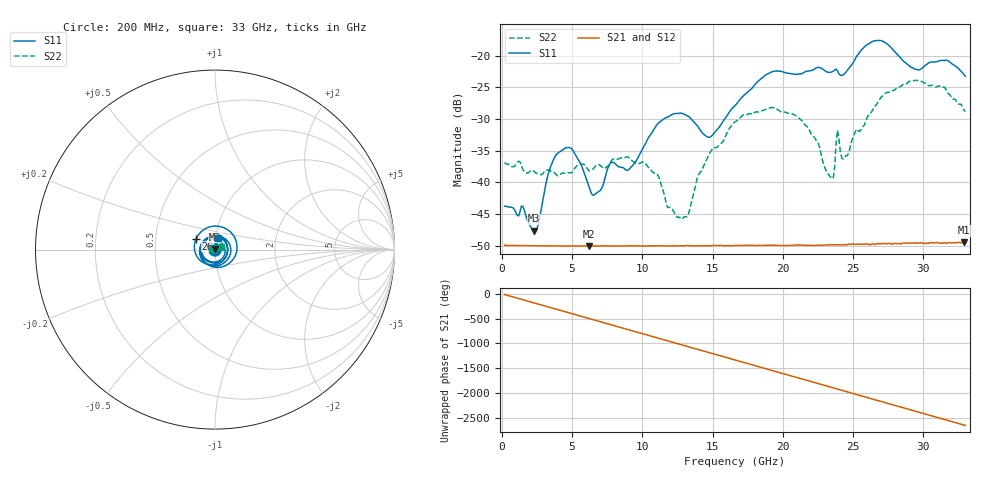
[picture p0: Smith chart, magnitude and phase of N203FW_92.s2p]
# GHZ S RI R 50
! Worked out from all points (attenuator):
!   329 points, 200 MHz to 33 GHz, reference 50 ohm
!   highest |S21| = -49.45 dB at 32.9 GHz (marker M1); lowest = -50.1 dB at 6.2 GHz (marker M2)
!   lowest |S11| = -47.7 dB at 2.3 GHz (marker M3), VSWR 1.01, Z = 50.2 + j0.37 ohm
!   |S11| at or under -10 dB: start of sweep to end of sweep
!   |S22| runs from -45.8 to -23.9 dB; largest |S21 - S12| = 8.8e-05
!   S11 on the Smith chart (normalised r, x): 200 MHz: 1.01, +0.00; 26 GHz: 0.80, +0.10; 33 GHz: 1.03, +0.14
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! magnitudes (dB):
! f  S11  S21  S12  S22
! 200 MHz  -43.8  -50.0  -49.9  -36.8
! 1.5 GHz  -43.8  -50.0  -50.0  -38.0
! 2.3 GHz  -47.7  -50.0  -50.0  -38.3
! 3.9 GHz  -35.6  -50.0  -50.0  -38.8
! 5.7 GHz  -37.5  -50.1  -50.0  -37.2
! 6.2 GHz  -40.6  -50.1  -50.1  -38.2
! 9 GHz  -38.1  -50.0  -50.0  -36.0
! 11.2 GHz  -30.6  -50.0  -50.0  -39.3
! 11.8 GHz  -29.7  -50.0  -50.0  -44.0
! 13.2 GHz  -29.5  -50.0  -50.0  -45.5
! 14.8 GHz  -32.9  -50.0  -50.0  -35.4
! 16.6 GHz  -27.9  -50.0  -50.0  -30.5
! 19.3 GHz  -22.5  -49.9  -49.9  -28.2
! 22.1 GHz  -22.3  -50.0  -49.9  -32.6
! 23.5 GHz  -22.6  -49.9  -49.8  -39.5
! 23.9 GHz  -22.4  -49.9  -49.9  -31.8
! 24.3 GHz  -23.0  -49.8  -49.8  -36.3
! 26 GHz  -18.3  -49.8  -49.7  -29.8
! 27.6 GHz  -18.5  -49.7  -49.7  -25.7
! 29.8 GHz  -22.2  -49.6  -49.7  -24.0
! 32.9 GHz  -23.0  -49.4  -49.4  -28.6
! 33 GHz  -23.3  -49.5  -49.5  -28.8
